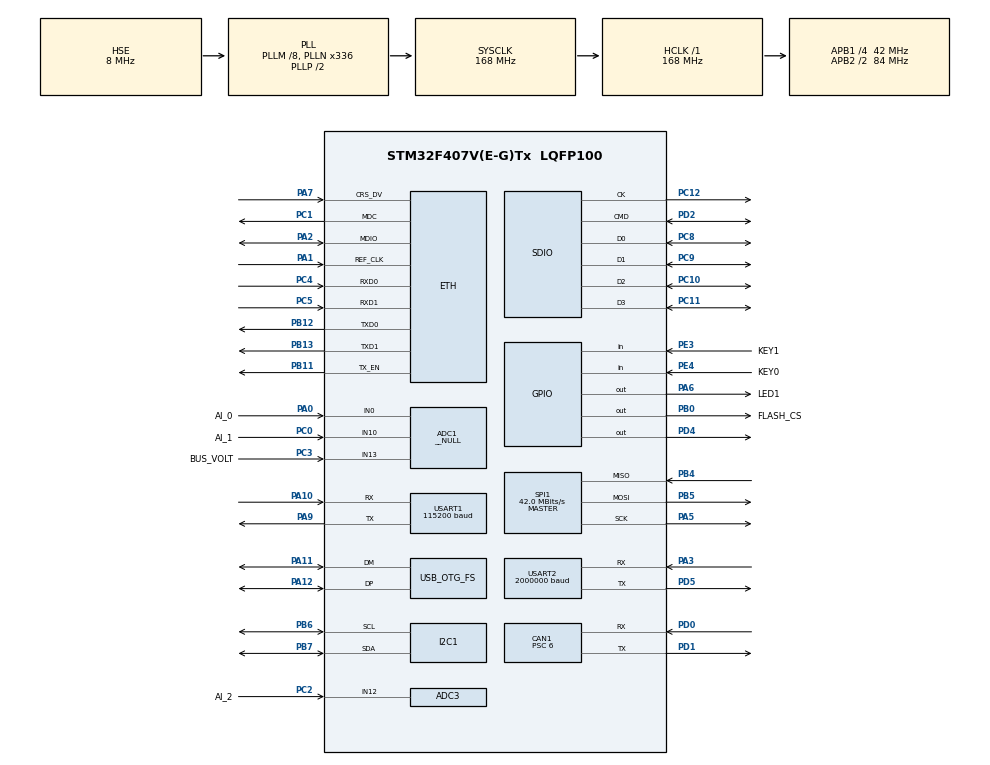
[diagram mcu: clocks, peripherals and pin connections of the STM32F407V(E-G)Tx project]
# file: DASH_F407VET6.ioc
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ADC1.Channel-0\#ChannelRegularConversion=ADC_CHANNEL_0
ADC1.Channel-1\#ChannelInjectedConversion=ADC_CHANNEL_0
ADC1.Channel-2\#ChannelInjectedConversion=ADC_CHANNEL_10
ADC1.Channel-3\#ChannelInjectedConversion=ADC_CHANNEL_13
ADC1.ContinuousConvMode=DISABLE
ADC1.ExternalTrigInjecConv=ADC_INJECTED_SOFTWARE_START
ADC1.InjNumberOfConversion=3
ADC1.InjectedConvMode=Discontinuous
ADC1.InjectedOffset-1\#ChannelInjectedConversion=0
ADC1.InjectedOffset-2\#ChannelInjectedConversion=0
ADC1.InjectedOffset-3\#ChannelInjectedConversion=0
ADC1.InjectedRank-1\#ChannelInjectedConversion=1
ADC1.InjectedRank-2\#ChannelInjectedConversion=2
ADC1.InjectedRank-3\#ChannelInjectedConversion=3
ADC1.Mode=__NULL
ADC1.NbrOfConversion=1
ADC1.NbrOfConversionFlag=1
ADC1.Rank-0\#ChannelRegularConversion=1
ADC1.SamplingTime-0\#ChannelRegularConversion=ADC_SAMPLETIME_3CYCLES
ADC1.SamplingTime-1\#ChannelInjectedConversion=ADC_SAMPLETIME_112CYCLES
ADC1.SamplingTime-2\#ChannelInjectedConversion=ADC_SAMPLETIME_112CYCLES
ADC1.SamplingTime-3\#ChannelInjectedConversion=ADC_SAMPLETIME_112CYCLES
ADC1.master=1
ADC3.Channel-0\#ChannelRegularConversion=ADC_CHANNEL_12
ADC3.Channel-1\#ChannelInjectedConversion=ADC_CHANNEL_12
ADC3.ExternalTrigInjecConv=ADC_EXTERNALTRIGINJECCONV_T1_TRGO
ADC3.InjNumberOfConversion=1
ADC3.InjectedOffset-1\#ChannelInjectedConversion=0
ADC3.InjectedRank-1\#ChannelInjectedConversion=1
ADC3.NbrOfConversionFlag=1
ADC3.Rank-0\#ChannelRegularConversion=1
ADC3.SamplingTime-0\#ChannelRegularConversion=ADC_SAMPLETIME_3CYCLES
ADC3.SamplingTime-1\#ChannelInjectedConversion=ADC_SAMPLETIME_3CYCLES
CAN1.BS1=CAN_BS1_11TQ
CAN1.BS2=CAN_BS2_2TQ
CAN1.CalculateBaudRate=500000
CAN1.CalculateTimeBit=2000
CAN1.CalculateTimeQuantum=142.85714285714286
CAN1.NART=DISABLE
CAN1.Prescaler=6
CAN1.SJW=CAN_SJW_2TQ
CAN1.TXFP=ENABLE
Dma.Request0=USART1_RX
Dma.Request1=USART1_TX
Dma.Request2=SDIO_RX
Dma.Request3=SDIO_TX
Dma.Request4=USART2_RX
Dma.Request5=USART2_TX
Dma.SDIO_RX.2.Direction=DMA_PERIPH_TO_MEMORY
Dma.SDIO_RX.2.FIFOMode=DMA_FIFOMODE_ENABLE
Dma.SDIO_RX.2.FIFOThreshold=DMA_FIFO_THRESHOLD_FULL
Dma.SDIO_RX.2.Instance=DMA2_Stream3
Dma.SDIO_RX.2.MemBurst=DMA_MBURST_INC4
Dma.SDIO_RX.2.MemDataAlignment=DMA_MDATAALIGN_WORD
Dma.SDIO_RX.2.MemInc=DMA_MINC_ENABLE
Dma.SDIO_RX.2.Mode=DMA_PFCTRL
Dma.SDIO_RX.2.PeriphBurst=DMA_PBURST_INC4
Dma.SDIO_RX.2.PeriphDataAlignment=DMA_PDATAALIGN_WORD
Dma.SDIO_RX.2.PeriphInc=DMA_PINC_DISABLE
Dma.SDIO_RX.2.Priority=DMA_PRIORITY_LOW
Dma.SDIO_TX.3.Direction=DMA_MEMORY_TO_PERIPH
Dma.SDIO_TX.3.FIFOMode=DMA_FIFOMODE_ENABLE
Dma.SDIO_TX.3.FIFOThreshold=DMA_FIFO_THRESHOLD_FULL
Dma.SDIO_TX.3.Instance=DMA2_Stream6
Dma.SDIO_TX.3.MemBurst=DMA_MBURST_INC4
Dma.SDIO_TX.3.MemDataAlignment=DMA_MDATAALIGN_WORD
Dma.SDIO_TX.3.MemInc=DMA_MINC_ENABLE
Dma.SDIO_TX.3.Mode=DMA_PFCTRL
Dma.SDIO_TX.3.PeriphBurst=DMA_PBURST_INC4
Dma.SDIO_TX.3.PeriphDataAlignment=DMA_PDATAALIGN_WORD
Dma.SDIO_TX.3.PeriphInc=DMA_PINC_DISABLE
Dma.SDIO_TX.3.Priority=DMA_PRIORITY_LOW
Dma.USART1_RX.0.Direction=DMA_PERIPH_TO_MEMORY
Dma.USART1_RX.0.FIFOMode=DMA_FIFOMODE_DISABLE
Dma.USART1_RX.0.Instance=DMA2_Stream2
Dma.USART1_RX.0.MemDataAlignment=DMA_MDATAALIGN_BYTE
Dma.USART1_RX.0.MemInc=DMA_MINC_ENABLE
Dma.USART1_RX.0.Mode=DMA_CIRCULAR
Dma.USART1_RX.0.PeriphDataAlignment=DMA_PDATAALIGN_BYTE
Dma.USART1_RX.0.PeriphInc=DMA_PINC_DISABLE
Dma.USART1_RX.0.Priority=DMA_PRIORITY_LOW
Dma.USART1_TX.1.Direction=DMA_MEMORY_TO_PERIPH
Dma.USART1_TX.1.FIFOMode=DMA_FIFOMODE_DISABLE
Dma.USART1_TX.1.Instance=DMA2_Stream7
Dma.USART1_TX.1.MemDataAlignment=DMA_MDATAALIGN_BYTE
Dma.USART1_TX.1.MemInc=DMA_MINC_ENABLE
Dma.USART1_TX.1.Mode=DMA_NORMAL
Dma.USART1_TX.1.PeriphDataAlignment=DMA_PDATAALIGN_BYTE
Dma.USART1_TX.1.PeriphInc=DMA_PINC_DISABLE
Dma.USART1_TX.1.Priority=DMA_PRIORITY_LOW
Dma.USART2_RX.4.Direction=DMA_PERIPH_TO_MEMORY
Dma.USART2_RX.4.FIFOMode=DMA_FIFOMODE_DISABLE
Dma.USART2_RX.4.Instance=DMA1_Stream5
Dma.USART2_RX.4.MemDataAlignment=DMA_MDATAALIGN_BYTE
Dma.USART2_RX.4.MemInc=DMA_MINC_ENABLE
Dma.USART2_RX.4.Mode=DMA_NORMAL
Dma.USART2_RX.4.PeriphDataAlignment=DMA_PDATAALIGN_BYTE
Dma.USART2_RX.4.PeriphInc=DMA_PINC_DISABLE
Dma.USART2_RX.4.Priority=DMA_PRIORITY_LOW
Dma.USART2_TX.5.Direction=DMA_MEMORY_TO_PERIPH
Dma.USART2_TX.5.FIFOMode=DMA_FIFOMODE_DISABLE
Dma.USART2_TX.5.Instance=DMA1_Stream6
Dma.USART2_TX.5.MemDataAlignment=DMA_MDATAALIGN_BYTE
Dma.USART2_TX.5.MemInc=DMA_MINC_ENABLE
Dma.USART2_TX.5.Mode=DMA_NORMAL
Dma.USART2_TX.5.PeriphDataAlignment=DMA_PDATAALIGN_BYTE
Dma.USART2_TX.5.PeriphInc=DMA_PINC_DISABLE
Dma.USART2_TX.5.Priority=DMA_PRIORITY_LOW
ETH.MediaInterface=HAL_ETH_RMII_MODE
ETH.PHY_DUPLEX_STATUS=0x0010
ETH.PHY_ISFR_INT4=0x0010
ETH.PHY_Name_RMII=LAN8742A_PHY_ADDRESS
ETH.PHY_SPEED_STATUS=0x0004
ETH.PHY_SR=0x1F
FATFS.BSP.number=1
FATFS._FS_EXFAT=0
FATFS._FS_RPATH=2
FATFS._USE_LFN=3
FATFS._USE_MUTEX=1
FATFS._USE_STRFUNC=2
FATFS0.BSP.STBoard=false
FATFS0.BSP.api=Unknown
FATFS0.BSP.instance=PE4
FATFS0.BSP.ip=GPIO
FATFS0.BSP.mode=Input
FATFS0.BSP.name=Detect_SDIO
FATFS0.BSP.solution=PE4
FREERTOS.Tasks01=defaultTask,24,128,StartDefaultTask,Default,NULL,Dynamic,NULL,NULL
FREERTOS.configTOTAL_HEAP_SIZE=64000
FREERTOS.configUSE_NEWLIB_REENTRANT=1
I2C1.I2C_Mode=I2C_Fast
LWIP.BSP.number=1
LWIP.GATEWAY_ADDRESS=192.168.050.001
LWIP.IP_ADDRESS=192.168.050.200
LWIP.LWIP_DHCP=1
LWIP.LWIP_DNS=1
LWIP.NETMASK_ADDRESS=255.255.255.000
LWIP.Version=v2.1.2_Cube
LWIP0.BSP.STBoard=false
LWIP0.BSP.api=BSP_COMPONENT_DRIVER
LWIP0.BSP.component=LAN8742
LWIP0.BSP.instance=LAN8742
LWIP0.BSP.name=Driver_PHY
LWIP0.BSP.semaphore=S_LAN8742
LWIP0.BSP.solution=LAN8742
Mcu.Family=STM32F4
Mcu.Name=STM32F407V(E-G)Tx
Mcu.Package=LQFP100
NVIC.CAN1_RX0_IRQn=true\:5\:0\:false\:false\:false\:true\:true\:true\:true
NVIC.DMA1_Stream5_IRQn=true\:5\:0\:false\:false\:true\:true\:false\:true\:true
NVIC.DMA1_Stream6_IRQn=true\:5\:0\:false\:false\:true\:true\:false\:true\:true
NVIC.DMA2_Stream2_IRQn=true\:5\:0\:false\:false\:true\:true\:false\:true\:true
NVIC.DMA2_Stream3_IRQn=true\:5\:0\:false\:false\:true\:true\:false\:true\:true
NVIC.DMA2_Stream6_IRQn=true\:5\:0\:false\:false\:true\:true\:false\:true\:true
NVIC.DMA2_Stream7_IRQn=true\:5\:0\:false\:false\:true\:true\:false\:true\:true
NVIC.ETH_IRQn=true\:5\:0\:false\:false\:true\:true\:false\:true\:true
NVIC.OTG_FS_IRQn=true\:5\:0\:false\:false\:true\:true\:false\:true\:true
NVIC.PriorityGroup=NVIC_PRIORITYGROUP_4
NVIC.SDIO_IRQn=true\:5\:0\:false\:false\:true\:true\:true\:true\:true
NVIC.TIM5_IRQn=true\:15\:0\:false\:false\:true\:false\:false\:true\:true
NVIC.TimeBase=TIM5_IRQn
NVIC.TimeBaseIP=TIM5
NVIC.USART1_IRQn=true\:5\:0\:false\:false\:true\:true\:true\:true\:true
PA0-WKUP.GPIO_Label=AI_0
PA0-WKUP.Signal=ADCx_IN0
PA1.Mode=RMII
PA1.Signal=ETH_REF_CLK
PA10.Mode=Asynchronous
PA10.Signal=USART1_RX
PA11.Mode=Device_Only
PA11.Signal=USB_OTG_FS_DM
PA12.Mode=Device_Only
PA12.Signal=USB_OTG_FS_DP
PA2.Mode=RMII
PA2.Signal=ETH_MDIO
PA3.Mode=Asynchronous
PA3.Signal=USART2_RX
PA5.Mode=Full_Duplex_Master
PA5.Signal=SPI1_SCK
PA6.GPIO_Label=LED1
PA6.Signal=GPIO_Output
PA7.Mode=RMII
PA7.Signal=ETH_CRS_DV
PA9.Mode=Asynchronous
PA9.Signal=USART1_TX
PB0.GPIO_Label=FLASH_CS
PB0.Signal=GPIO_Output
PB11.Mode=RMII
PB11.Signal=ETH_TX_EN
PB12.Mode=RMII
PB12.Signal=ETH_TXD0
PB13.Mode=RMII
PB13.Signal=ETH_TXD1
PB4.Mode=Full_Duplex_Master
PB4.Signal=SPI1_MISO
PB5.Mode=Full_Duplex_Master
PB5.Signal=SPI1_MOSI
PB6.Mode=I2C
PB6.Signal=I2C1_SCL
PB7.Mode=I2C
PB7.Signal=I2C1_SDA
PC0.GPIO_Label=AI_1
PC0.Signal=ADCx_IN10
PC1.Mode=RMII
PC1.Signal=ETH_MDC
PC10.GPIO_PuPd=GPIO_PULLUP
PC10.Mode=SD_4_bits_Wide_bus
PC10.Signal=SDIO_D2
PC11.GPIO_PuPd=GPIO_PULLUP
PC11.Mode=SD_4_bits_Wide_bus
PC11.Signal=SDIO_D3
PC12.Mode=SD_4_bits_Wide_bus
PC12.Signal=SDIO_CK
PC2.GPIO_Label=AI_2
PC2.Signal=ADCx_IN12
PC3.GPIO_Label=BUS_VOLT
PC3.Signal=ADCx_IN13
PC4.Mode=RMII
PC4.Signal=ETH_RXD0
PC5.Mode=RMII
PC5.Signal=ETH_RXD1
PC8.GPIO_PuPd=GPIO_PULLUP
PC8.Mode=SD_4_bits_Wide_bus
PC8.Signal=SDIO_D0
PC9.GPIO_PuPd=GPIO_PULLUP
PC9.Mode=SD_4_bits_Wide_bus
PC9.Signal=SDIO_D1
PD0.Mode=CAN_Activate
PD0.Signal=CAN1_RX
PD1.Mode=CAN_Activate
PD1.Signal=CAN1_TX
PD2.GPIO_PuPd=GPIO_PULLUP
PD2.Mode=SD_4_bits_Wide_bus
PD2.Signal=SDIO_CMD
PD4.GPIO_Speed=GPIO_SPEED_FREQ_VERY_HIGH
PD4.PinState=GPIO_PIN_RESET
PD4.Signal=GPIO_Output
PD5.Mode=Asynchronous
PD5.Signal=USART2_TX
PE3.GPIO_Label=KEY1
PE3.Signal=GPIO_Input
PE4.GPIO_Label=KEY0
PE4.Signal=GPIO_Input
PH0-OSC_IN.Mode=HSE-External-Oscillator
PH0-OSC_IN.Signal=RCC_OSC_IN
PH1-OSC_OUT.Mode=HSE-External-Oscillator
PH1-OSC_OUT.Signal=RCC_OSC_OUT
ProjectManager.HeapSize=0x200
ProjectManager.StackSize=0x400
ProjectManager.TargetToolchain=STM32CubeIDE
RCC.48MHZClocksFreq_Value=48000000
RCC.AHBFreq_Value=168000000
RCC.APB1CLKDivider=RCC_HCLK_DIV4
RCC.APB1Freq_Value=42000000
RCC.APB1TimFreq_Value=84000000
RCC.APB2CLKDivider=RCC_HCLK_DIV2
RCC.APB2Freq_Value=84000000
RCC.APB2TimFreq_Value=168000000
RCC.CortexFreq_Value=168000000
RCC.HCLKFreq_Value=168000000
RCC.HSE_VALUE=8000000
RCC.HSI_VALUE=16000000
RCC.LSE_VALUE=32768
RCC.PLLM=8
RCC.PLLN=336
RCC.PLLQ=7
RCC.SYSCLKFreq_VALUE=168000000
RCC.SYSCLKSource=RCC_SYSCLKSOURCE_PLLCLK
RCC.VCOOutputFreq_Value=336000000
SDIO.ClockDiv=0
SDIO.HardwareFlowControl=SDIO_HARDWARE_FLOW_CONTROL_DISABLE
SH.ADCx_IN0.0=ADC1_IN0,IN0
SH.ADCx_IN10.0=ADC1_IN10,IN10
SH.ADCx_IN12.0=ADC3_IN12,IN12
SH.ADCx_IN13.0=ADC1_IN13,IN13
SPI1.CalculateBaudRate=42.0 MBits/s
SPI1.Direction=SPI_DIRECTION_2LINES
SPI1.Mode=SPI_MODE_MASTER
SPI1.VirtualType=VM_MASTER
TIM1.CounterMode=TIM_COUNTERMODE_CENTERALIGNED1
TIM6.AutoReloadPreload=TIM_AUTORELOAD_PRELOAD_ENABLE
USART1.BaudRate=115200
USART1.VirtualMode=VM_ASYNC
USART2.BaudRate=2000000
USART2.VirtualMode=VM_ASYNC
USB_DEVICE.CLASS_NAME_FS=CDC
USB_DEVICE.VirtualMode-CDC_FS=Cdc
USB_DEVICE.VirtualModeFS=Cdc_FS
USB_OTG_FS.VirtualMode=Device_Only
VP_FATFS_VS_SDIO.Mode=SDIO
VP_FREERTOS_VS_CMSIS_V2.Mode=CMSIS_V2
VP_LWIP_VS_Enabled.Mode=Enabled
VP_SYS_VS_tim5.Mode=TIM5
VP_TIM1_VS_ClockSourceINT.Mode=Internal
VP_TIM6_VS_ClockSourceINT.Mode=Enable_Timer
VP_USB_DEVICE_VS_USB_DEVICE_CDC_FS.Mode=CDC_FS
board=custom

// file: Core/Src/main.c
/* USER CODE BEGIN Header */
/**
  ******************************************************************************
  * @file           : main.c
  * @brief          : Main program body
  ******************************************************************************
  * @attention
  *
  * Copyright (c) 2022 STMicroelectronics.
  * All rights reserved.
  *
  * This software is licensed under terms that can be found in the LICENSE file
  * in the root directory of this software component.
  * If no LICENSE file comes with this software, it is provided AS-IS.
  *
  ******************************************************************************
  */
/* USER CODE END Header */
#include "main.h"
#include "cmsis_os.h"
#include "adc.h"
#include "can.h"
#include "dma.h"
#include "fatfs.h"
#include "i2c.h"
#include "lwip.h"
#include "sdio.h"
#include "spi.h"
#include "tim.h"
#include "usart.h"
#include "usb_device.h"
#include "gpio.h"

void SystemClock_Config(void);
void MX_FREERTOS_Init(void);

/* USER CODE BEGIN 0 */
#ifdef __GNUC__
#define PUTCHAR_PROTOTYPE int __io_putchar(int ch)
#else
#define PUTCHAR_PROTOTYPE int fputc(int ch, FILE *f)
#endif

PUTCHAR_PROTOTYPE
{
  HAL_UART_Transmit(&huart1, (uint8_t *)&ch, 1, HAL_MAX_DELAY);
  return ch;
}

/* USER CODE END 0 */

int main(void)
{

  /* MCU Configuration--------------------------------------------------------*/

  /* Reset of all peripherals, Initializes the Flash interface and the Systick. */
  HAL_Init();

  /* Configure the system clock */
  SystemClock_Config();

  /* Initialize all configured peripherals */
  MX_GPIO_Init();
  MX_DMA_Init();
  MX_USART1_UART_Init();
  MX_ADC1_Init();
  MX_ADC3_Init();
  MX_SPI1_Init();
  MX_TIM1_Init();
  MX_SDIO_SD_Init();
  MX_FATFS_Init();
  MX_USART2_UART_Init();
  MX_TIM6_Init();
  MX_CAN1_Init();
  MX_I2C1_Init();

  /* Init scheduler */
  osKernelInitialize();  /* Call init function for freertos objects (in freertos.c) */
  MX_FREERTOS_Init();

  /* Start scheduler */
  osKernelStart();

  /* We should never get here as control is now taken by the scheduler */
  /* Infinite loop */
  while (1)
  {

  }
}

void SystemClock_Config(void)
{
  RCC_OscInitTypeDef RCC_OscInitStruct = {0};
  RCC_ClkInitTypeDef RCC_ClkInitStruct = {0};

  /** Configure the main internal regulator output voltage
  */
  __HAL_RCC_PWR_CLK_ENABLE();
  __HAL_PWR_VOLTAGESCALING_CONFIG(PWR_REGULATOR_VOLTAGE_SCALE1);

  /** Initializes the RCC Oscillators according to the specified parameters
  * in the RCC_OscInitTypeDef structure.
  */
  RCC_OscInitStruct.OscillatorType = RCC_OSCILLATORTYPE_HSE;
  RCC_OscInitStruct.HSEState = RCC_HSE_ON;
  RCC_OscInitStruct.PLL.PLLState = RCC_PLL_ON;
  RCC_OscInitStruct.PLL.PLLSource = RCC_PLLSOURCE_HSE;
  RCC_OscInitStruct.PLL.PLLM = 8;
  RCC_OscInitStruct.PLL.PLLN = 336;
  RCC_OscInitStruct.PLL.PLLP = RCC_PLLP_DIV2;
  RCC_OscInitStruct.PLL.PLLQ = 7;
  if (HAL_RCC_OscConfig(&RCC_OscInitStruct) != HAL_OK)
  {
    Error_Handler();
  }

  /** Initializes the CPU, AHB and APB buses clocks
  */
  RCC_ClkInitStruct.ClockType = RCC_CLOCKTYPE_HCLK|RCC_CLOCKTYPE_SYSCLK
                              |RCC_CLOCKTYPE_PCLK1|RCC_CLOCKTYPE_PCLK2;
  RCC_ClkInitStruct.SYSCLKSource = RCC_SYSCLKSOURCE_PLLCLK;
  RCC_ClkInitStruct.AHBCLKDivider = RCC_SYSCLK_DIV1;
  RCC_ClkInitStruct.APB1CLKDivider = RCC_HCLK_DIV4;
  RCC_ClkInitStruct.APB2CLKDivider = RCC_HCLK_DIV2;

  if (HAL_RCC_ClockConfig(&RCC_ClkInitStruct, FLASH_LATENCY_5) != HAL_OK)
  {
    Error_Handler();
  }
}

void HAL_TIM_PeriodElapsedCallback(TIM_HandleTypeDef *htim)
{
  if (htim->Instance == TIM5) {
    HAL_IncTick();
  }
}

void Error_Handler(void)
{
  __disable_irq();
  while (1)
  {
  }
}

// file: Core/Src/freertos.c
/* USER CODE BEGIN Header */
/**
  ******************************************************************************
  * File Name          : freertos.c
  * Description        : Code for freertos applications
  ******************************************************************************
  * @attention
  *
  * Copyright (c) 2022 STMicroelectronics.
  * All rights reserved.
  *
  * This software is licensed under terms that can be found in the LICENSE file
  * in the root directory of this software component.
  * If no LICENSE file comes with this software, it is provided AS-IS.
  *
  ******************************************************************************
  */
/* USER CODE END Header */

#include "FreeRTOS.h"
#include "task.h"
#include "main.h"
#include "cmsis_os.h"

/* USER CODE BEGIN Includes */
#include "init.h"
#include "lwip.h"
#include "udp.h"
#include "string.h"
#include "Tasks/init.h"
/* USER CODE END Includes */

/* Definitions for defaultTask */
osThreadId_t defaultTaskHandle;
const osThreadAttr_t defaultTask_attributes = {
  .name = "defaultTask",
  .stack_size = 128 * 4,
  .priority = (osPriority_t) osPriorityNormal,
};

void StartDefaultTask(void *argument);

extern void MX_USB_DEVICE_Init(void);
extern void MX_LWIP_Init(void);
void MX_FREERTOS_Init(void); /* (MISRA C 2004 rule 8.1) */

void MX_FREERTOS_Init(void) {

  /* Create the thread(s) */
  /* creation of defaultTask */
  defaultTaskHandle = osThreadNew(StartDefaultTask, NULL, &defaultTask_attributes);

  /* USER CODE BEGIN RTOS_THREADS */
  /* add threads, ... */
  init_system();
  /* USER CODE END RTOS_THREADS */

}

void StartDefaultTask(void *argument)
{
  /* init code for USB_DEVICE */
  MX_USB_DEVICE_Init();

  /* init code for LWIP */
  MX_LWIP_Init();
  /* USER CODE BEGIN StartDefaultTask */
  /* Infinite loop */
/*  const char* message = "Hello UDP message!\n\r";

  osDelay(5000);

  ip_addr_t PC_IPADDR;
  IP_ADDR4(&PC_IPADDR, 192, 168, 1, 1);

  struct udp_pcb* my_udp = udp_new();
  udp_connect(my_udp, &PC_IPADDR, 55151);
  struct pbuf* udp_buffer = NULL;
*/
  for(;;)
  {
	HAL_GPIO_TogglePin(LED1_GPIO_Port, LED1_Pin);

	osDelay(1);

    /*udp_buffer = pbuf_alloc(PBUF_TRANSPORT, strlen(message), PBUF_RAM);

      if (udp_buffer != NULL) {
        memcpy(udp_buffer->payload, message, strlen(message));
        udp_send(my_udp, udp_buffer);
        pbuf_free(udp_buffer);
      }*/
  }
  /* USER CODE END StartDefaultTask */
}
